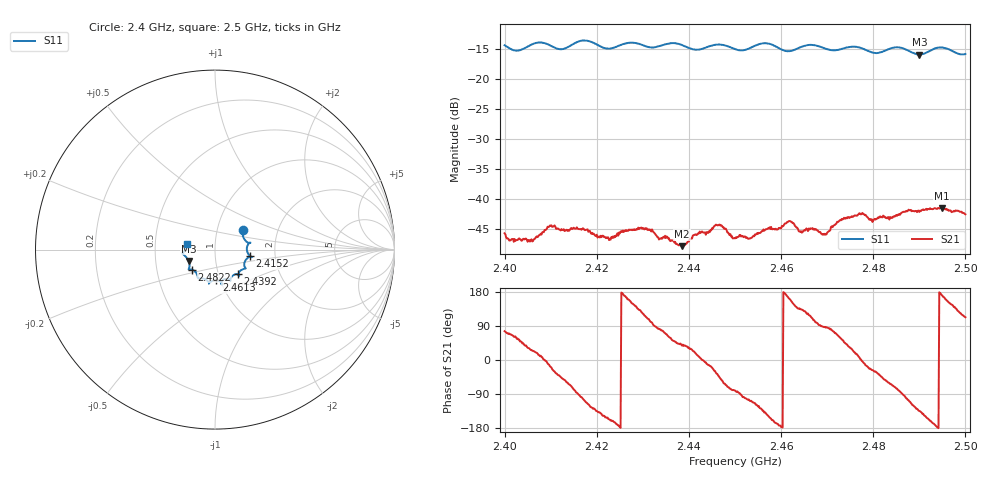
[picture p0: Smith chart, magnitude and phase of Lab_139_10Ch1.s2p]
# Hz S RI R 50
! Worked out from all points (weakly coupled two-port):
!   601 points, 2.4 GHz to 2.5 GHz, reference 50 ohm
!   highest |S21| = -41.56 dB at 2.4948 GHz (marker M1); lowest = -47.9 dB at 2.4385 GHz (marker M2)
!   lowest |S11| = -15.9 dB at 2.49 GHz (marker M3), VSWR 1.38, Z = 36.9 - j4.84 ohm
!   |S11| at or under -10 dB: start of sweep to end of sweep
!   S12 and S22 are empty: the file has one direction only
!   S11 on the Smith chart (normalised r, x): 2.4 GHz: 1.33, +0.31; 2.4152 GHz: 1.48, -0.11; 2.4392 GHz: 1.24, -0.35; 2.4613 GHz: 0.96, -0.34; 2.4822 GHz: 0.76, -0.17; 2.5 GHz: 0.73, +0.05
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2.4e9  0.1558 0.1108  0.00124 0.00498  0 0  0 0
2.4055e9  0.1873 0.0376  0.00385 0.00209  0 0  0 0
2.409833e9  0.1883 0.0337  0.00571 -0.00169  0 0  0 0
2.415167e9  0.1953 -0.0363  0.001 -0.00553  0 0  0 0
2.416667e9  0.2047 -0.0422  -0.000755 -0.00544  0 0  0 0
2.4225e9  0.1664 -0.0667  -0.00431 -0.00195  0 0  0 0
2.43e9  0.1582 -0.1083  -0.00302 0.00483  0 0  0 0
2.433333e9  0.132 -0.1322  0.000633 0.00471  0 0  0 0
2.4385e9  0.1315 -0.1402  0.00316 0.00246  0 0  0 0
2.439167e9  0.1271 -0.1377  0.00324 0.00253  0 0  0 0
2.446167e9  0.0858 -0.1738  0.00478 -0.00359  0 0  0 0
2.45e9  0.0686 -0.164  0.00076 -0.00459  0 0  0 0
2.456667e9  0.039 -0.1952  -0.00425 -0.00356  0 0  0 0
2.461333e9  0.00715 -0.1704  -0.00625 0.00131  0 0  0 0
2.466667e9  -0.0335 -0.1898  -0.00205 0.00523  0 0  0 0
2.469333e9  -0.038 -0.177  0.00029 0.00498  0 0  0 0
2.474167e9  -0.0874 -0.1607  0.00516 0.00465  0 0  0 0
2.482167e9  -0.128 -0.1117  0.00473 -0.00545  0 0  0 0
2.483333e9  -0.1392 -0.1102  0.0035 -0.00606  0 0  0 0
2.49e9  -0.1468 -0.0638  -0.00541 -0.00554  0 0  0 0
2.494833e9  -0.1823 -0.0211  -0.00827 0.0012  0 0  0 0
2.5e9  -0.158 0.0339  -0.00287 0.00681  0 0  0 0
